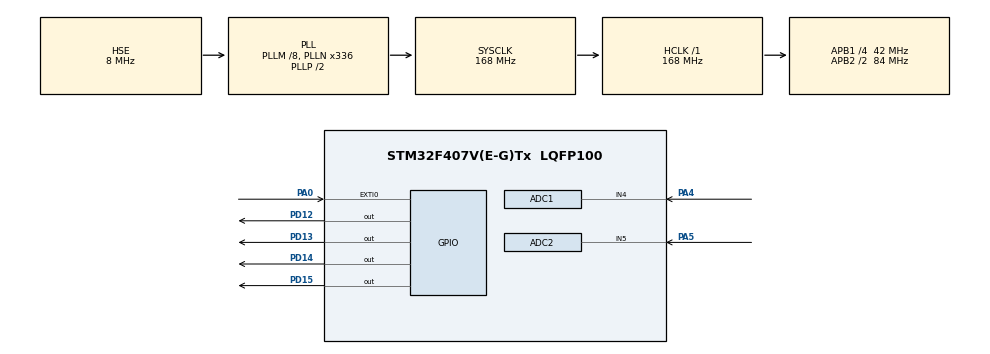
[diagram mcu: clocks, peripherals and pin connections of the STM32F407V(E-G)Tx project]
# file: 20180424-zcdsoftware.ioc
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ADC1.Channel-4\#ChannelRegularConversion=ADC_CHANNEL_4
ADC1.ClockPrescaler=ADC_CLOCK_SYNC_PCLK_DIV4
ADC1.ContinuousConvMode=ENABLE
ADC1.DMAContinuousRequests=DISABLE
ADC1.DataAlign=ADC_DATAALIGN_RIGHT
ADC1.DiscontinuousConvMode=DISABLE
ADC1.EOCSelection=ADC_EOC_SEQ_CONV
ADC1.EnableAnalogWatchDog=false
ADC1.ExternalTrigConv=ADC_SOFTWARE_START
ADC1.ExternalTrigConvEdge=ADC_EXTERNALTRIGCONVEDGE_NONE
ADC1.InjNumberOfConversion=0
ADC1.NbrOfConversion=1
ADC1.NbrOfConversionFlag=1
ADC1.Rank-4\#ChannelRegularConversion=1
ADC1.Resolution=ADC_RESOLUTION_12B
ADC1.SamplingTime-4\#ChannelRegularConversion=ADC_SAMPLETIME_3CYCLES
ADC1.ScanConvMode=DISABLE
ADC1.master=1
ADC2.Channel-0\#ChannelRegularConversion=ADC_CHANNEL_5
ADC2.ClockPrescaler=ADC_CLOCK_SYNC_PCLK_DIV4
ADC2.ContinuousConvMode=ENABLE
ADC2.DMAContinuousRequests=DISABLE
ADC2.DataAlign=ADC_DATAALIGN_RIGHT
ADC2.DiscontinuousConvMode=DISABLE
ADC2.EOCSelection=ADC_EOC_SEQ_CONV
ADC2.EnableAnalogWatchDog=false
ADC2.ExternalTrigConv=ADC_SOFTWARE_START
ADC2.ExternalTrigConvEdge=ADC_EXTERNALTRIGCONVEDGE_NONE
ADC2.InjNumberOfConversion=0
ADC2.NbrOfConversion=1
ADC2.NbrOfConversionFlag=1
ADC2.Rank-0\#ChannelRegularConversion=1
ADC2.Resolution=ADC_RESOLUTION_12B
ADC2.SamplingTime-0\#ChannelRegularConversion=ADC_SAMPLETIME_3CYCLES
ADC2.ScanConvMode=DISABLE
Mcu.Family=STM32F4
Mcu.Name=STM32F407V(E-G)Tx
Mcu.Package=LQFP100
NVIC.EXTI0_IRQn=true\:0\:0\:false\:false\:true\:true
NVIC.PriorityGroup=NVIC_PRIORITYGROUP_0
NVIC.TIM2_IRQn=true\:0\:0\:false\:false\:true\:true
PA0-WKUP.Signal=GPXTI0
PA13.Mode=Serial_Wire
PA13.Signal=SYS_JTMS-SWDIO
PA14.Mode=Serial_Wire
PA14.Signal=SYS_JTCK-SWCLK
PA4.Signal=ADCx_IN4
PA5.Signal=ADCx_IN5
PD12.Signal=GPIO_Output
PD13.Signal=GPIO_Output
PD14.Signal=GPIO_Output
PD15.Signal=GPIO_Output
PH0-OSC_IN.Mode=HSE-External-Oscillator
PH0-OSC_IN.Signal=RCC_OSC_IN
PH1-OSC_OUT.Mode=HSE-External-Oscillator
PH1-OSC_OUT.Signal=RCC_OSC_OUT
ProjectManager.HeapSize=0x200
ProjectManager.StackSize=0x400
ProjectManager.TargetToolchain=MDK-ARM V5
RCC.48MHZClocksFreq_Value=48000000
RCC.AHBFreq_Value=168000000
RCC.APB1CLKDivider=RCC_HCLK_DIV4
RCC.APB1Freq_Value=42000000
RCC.APB1TimFreq_Value=84000000
RCC.APB2CLKDivider=RCC_HCLK_DIV2
RCC.APB2Freq_Value=84000000
RCC.APB2TimFreq_Value=168000000
RCC.CortexFreq_Value=168000000
RCC.HCLKFreq_Value=168000000
RCC.HSE_VALUE=8000000
RCC.HSI_VALUE=16000000
RCC.PLLM=8
RCC.PLLN=336
RCC.PLLQ=7
RCC.PLLSourceVirtual=RCC_PLLSOURCE_HSE
RCC.SYSCLKFreq_VALUE=168000000
RCC.SYSCLKSource=RCC_SYSCLKSOURCE_PLLCLK
RCC.VCOOutputFreq_Value=336000000
SH.ADCx_IN4.0=ADC1_IN4,IN4
SH.ADCx_IN5.0=ADC2_IN5,IN5
TIM2.Period=16800-1
VP_TIM2_VS_ClockSourceINT.Mode=Internal
board=STM32F4DISCOVERY

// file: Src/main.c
/**
  ******************************************************************************
  * @file           : main.c
  * @brief          : Main program body
  ******************************************************************************
  ** This notice applies to any and all portions of this file
  * that are not between comment pairs USER CODE BEGIN and
  * USER CODE END. Other portions of this file, whether
  * inserted by the user or by software development tools
  * are owned by their respective copyright owners.
  *
  * COPYRIGHT(c) 2018 STMicroelectronics
  *
  * Redistribution and use in source and binary forms, with or without modification,
  * are permitted provided that the following conditions are met:
  *   1. Redistributions of source code must retain the above copyright notice,
  *      this list of conditions and the following disclaimer.
  *   2. Redistributions in binary form must reproduce the above copyright notice,
  *      this list of conditions and the following disclaimer in the documentation
  *      and/or other materials provided with the distribution.
  *   3. Neither the name of STMicroelectronics nor the names of its contributors
  *      may be used to endorse or promote products derived from this software
  *      without specific prior written permission.
  *
  * THIS SOFTWARE IS PROVIDED BY THE COPYRIGHT HOLDERS AND CONTRIBUTORS "AS IS"
  * AND ANY EXPRESS OR IMPLIED WARRANTIES, INCLUDING, BUT NOT LIMITED TO, THE
  * IMPLIED WARRANTIES OF MERCHANTABILITY AND FITNESS FOR A PARTICULAR PURPOSE ARE
  * DISCLAIMED. IN NO EVENT SHALL THE COPYRIGHT HOLDER OR CONTRIBUTORS BE LIABLE
  * FOR ANY DIRECT, INDIRECT, INCIDENTAL, SPECIAL, EXEMPLARY, OR CONSEQUENTIAL
  * DAMAGES (INCLUDING, BUT NOT LIMITED TO, PROCUREMENT OF SUBSTITUTE GOODS OR
  * SERVICES; LOSS OF USE, DATA, OR PROFITS; OR BUSINESS INTERRUPTION) HOWEVER
  * CAUSED AND ON ANY THEORY OF LIABILITY, WHETHER IN CONTRACT, STRICT LIABILITY,
  * OR TORT (INCLUDING NEGLIGENCE OR OTHERWISE) ARISING IN ANY WAY OUT OF THE USE
  * OF THIS SOFTWARE, EVEN IF ADVISED OF THE POSSIBILITY OF SUCH DAMAGE.
  *
  ******************************************************************************
  */
#include "main.h"
#include "stm32f4xx_hal.h"

/* USER CODE BEGIN Includes */
#define ZCD		2048
/* USER CODE END Includes */

ADC_HandleTypeDef hadc1;
ADC_HandleTypeDef hadc2;

TIM_HandleTypeDef htim2;

/* USER CODE BEGIN PV */
/* Private variables ---------------------------------------------------------*/
uint8_t state_v = 0, state_i = 0;
uint16_t adc_volt, adc_amp, hitung = 0, hasil;
/* USER CODE END PV */

void SystemClock_Config(void);
static void MX_GPIO_Init(void);
static void MX_TIM2_Init(void);
static void MX_ADC1_Init(void);
static void MX_ADC2_Init(void);

/* USER CODE BEGIN PFP */
/* Private function prototypes -----------------------------------------------*/

/* USER CODE END PFP */

int main(void)
{

  /* MCU Configuration----------------------------------------------------------*/

  /* Reset of all peripherals, Initializes the Flash interface and the Systick. */
  HAL_Init();

  /* Configure the system clock */
  SystemClock_Config();

  /* Initialize all configured peripherals */
  MX_GPIO_Init();
  MX_TIM2_Init();
  MX_ADC1_Init();
  MX_ADC2_Init();
  /* USER CODE BEGIN 2 */
	HAL_ADC_Start(&hadc1);
	HAL_ADC_Start(&hadc2);

  /* USER CODE END 2 */

  /* Infinite loop */
  while (1)
  {

  /* USER CODE BEGIN 3 */
		adc_volt = HAL_ADC_GetValue(&hadc1);
		adc_amp = HAL_ADC_GetValue(&hadc2);

		if(state_v==0 && adc_volt>ZCD)
		{
			hitung=0;
			state_v=1;
		}
		if(adc_volt<ZCD)
		{state_v=0;}
		if(state_i==0 && adc_amp>ZCD)
		{
			hasil = hitung;
			state_i=1;
		}
		if(adc_amp<ZCD)
		{state_i=0;}

  }
  /* USER CODE END 3 */

}

void SystemClock_Config(void)
{

  RCC_OscInitTypeDef RCC_OscInitStruct;
  RCC_ClkInitTypeDef RCC_ClkInitStruct;

    /**Configure the main internal regulator output voltage
    */
  __HAL_RCC_PWR_CLK_ENABLE();

  __HAL_PWR_VOLTAGESCALING_CONFIG(PWR_REGULATOR_VOLTAGE_SCALE1);

    /**Initializes the CPU, AHB and APB busses clocks
    */
  RCC_OscInitStruct.OscillatorType = RCC_OSCILLATORTYPE_HSE;
  RCC_OscInitStruct.HSEState = RCC_HSE_ON;
  RCC_OscInitStruct.PLL.PLLState = RCC_PLL_ON;
  RCC_OscInitStruct.PLL.PLLSource = RCC_PLLSOURCE_HSE;
  RCC_OscInitStruct.PLL.PLLM = 8;
  RCC_OscInitStruct.PLL.PLLN = 336;
  RCC_OscInitStruct.PLL.PLLP = RCC_PLLP_DIV2;
  RCC_OscInitStruct.PLL.PLLQ = 7;
  if (HAL_RCC_OscConfig(&RCC_OscInitStruct) != HAL_OK)
  {
    _Error_Handler(__FILE__, __LINE__);
  }

    /**Initializes the CPU, AHB and APB busses clocks
    */
  RCC_ClkInitStruct.ClockType = RCC_CLOCKTYPE_HCLK|RCC_CLOCKTYPE_SYSCLK
                              |RCC_CLOCKTYPE_PCLK1|RCC_CLOCKTYPE_PCLK2;
  RCC_ClkInitStruct.SYSCLKSource = RCC_SYSCLKSOURCE_PLLCLK;
  RCC_ClkInitStruct.AHBCLKDivider = RCC_SYSCLK_DIV1;
  RCC_ClkInitStruct.APB1CLKDivider = RCC_HCLK_DIV4;
  RCC_ClkInitStruct.APB2CLKDivider = RCC_HCLK_DIV2;

  if (HAL_RCC_ClockConfig(&RCC_ClkInitStruct, FLASH_LATENCY_5) != HAL_OK)
  {
    _Error_Handler(__FILE__, __LINE__);
  }

    /**Configure the Systick interrupt time
    */
  HAL_SYSTICK_Config(HAL_RCC_GetHCLKFreq()/10000);

    /**Configure the Systick
    */
  HAL_SYSTICK_CLKSourceConfig(SYSTICK_CLKSOURCE_HCLK);

  /* SysTick_IRQn interrupt configuration */
  HAL_NVIC_SetPriority(SysTick_IRQn, 0, 0);
}

/* ADC1 init function */
static void MX_ADC1_Init(void)
{

  ADC_ChannelConfTypeDef sConfig;

    /**Configure the global features of the ADC (Clock, Resolution, Data Alignment and number of conversion)
    */
  hadc1.Instance = ADC1;
  hadc1.Init.ClockPrescaler = ADC_CLOCK_SYNC_PCLK_DIV4;
  hadc1.Init.Resolution = ADC_RESOLUTION_12B;
  hadc1.Init.ScanConvMode = DISABLE;
  hadc1.Init.ContinuousConvMode = ENABLE;
  hadc1.Init.DiscontinuousConvMode = DISABLE;
  hadc1.Init.ExternalTrigConvEdge = ADC_EXTERNALTRIGCONVEDGE_NONE;
  hadc1.Init.ExternalTrigConv = ADC_SOFTWARE_START;
  hadc1.Init.DataAlign = ADC_DATAALIGN_RIGHT;
  hadc1.Init.NbrOfConversion = 1;
  hadc1.Init.DMAContinuousRequests = DISABLE;
  hadc1.Init.EOCSelection = ADC_EOC_SEQ_CONV;
  if (HAL_ADC_Init(&hadc1) != HAL_OK)
  {
    _Error_Handler(__FILE__, __LINE__);
  }

    /**Configure for the selected ADC regular channel its corresponding rank in the sequencer and its sample time.
    */
  sConfig.Channel = ADC_CHANNEL_4;
  sConfig.Rank = 1;
  sConfig.SamplingTime = ADC_SAMPLETIME_3CYCLES;
  if (HAL_ADC_ConfigChannel(&hadc1, &sConfig) != HAL_OK)
  {
    _Error_Handler(__FILE__, __LINE__);
  }

}

/* ADC2 init function */
static void MX_ADC2_Init(void)
{

  ADC_ChannelConfTypeDef sConfig;

    /**Configure the global features of the ADC (Clock, Resolution, Data Alignment and number of conversion)
    */
  hadc2.Instance = ADC2;
  hadc2.Init.ClockPrescaler = ADC_CLOCK_SYNC_PCLK_DIV4;
  hadc2.Init.Resolution = ADC_RESOLUTION_12B;
  hadc2.Init.ScanConvMode = DISABLE;
  hadc2.Init.ContinuousConvMode = ENABLE;
  hadc2.Init.DiscontinuousConvMode = DISABLE;
  hadc2.Init.ExternalTrigConvEdge = ADC_EXTERNALTRIGCONVEDGE_NONE;
  hadc2.Init.ExternalTrigConv = ADC_SOFTWARE_START;
  hadc2.Init.DataAlign = ADC_DATAALIGN_RIGHT;
  hadc2.Init.NbrOfConversion = 1;
  hadc2.Init.DMAContinuousRequests = DISABLE;
  hadc2.Init.EOCSelection = ADC_EOC_SEQ_CONV;
  if (HAL_ADC_Init(&hadc2) != HAL_OK)
  {
    _Error_Handler(__FILE__, __LINE__);
  }

    /**Configure for the selected ADC regular channel its corresponding rank in the sequencer and its sample time.
    */
  sConfig.Channel = ADC_CHANNEL_5;
  sConfig.Rank = 1;
  sConfig.SamplingTime = ADC_SAMPLETIME_3CYCLES;
  if (HAL_ADC_ConfigChannel(&hadc2, &sConfig) != HAL_OK)
  {
    _Error_Handler(__FILE__, __LINE__);
  }

}

/* TIM2 init function */
static void MX_TIM2_Init(void)
{

  TIM_ClockConfigTypeDef sClockSourceConfig;
  TIM_MasterConfigTypeDef sMasterConfig;

  htim2.Instance = TIM2;
  htim2.Init.Prescaler = 0;
  htim2.Init.CounterMode = TIM_COUNTERMODE_UP;
  htim2.Init.Period = 16800-1;
  htim2.Init.ClockDivision = TIM_CLOCKDIVISION_DIV1;
  if (HAL_TIM_Base_Init(&htim2) != HAL_OK)
  {
    _Error_Handler(__FILE__, __LINE__);
  }

  sClockSourceConfig.ClockSource = TIM_CLOCKSOURCE_INTERNAL;
  if (HAL_TIM_ConfigClockSource(&htim2, &sClockSourceConfig) != HAL_OK)
  {
    _Error_Handler(__FILE__, __LINE__);
  }

  sMasterConfig.MasterOutputTrigger = TIM_TRGO_RESET;
  sMasterConfig.MasterSlaveMode = TIM_MASTERSLAVEMODE_DISABLE;
  if (HAL_TIMEx_MasterConfigSynchronization(&htim2, &sMasterConfig) != HAL_OK)
  {
    _Error_Handler(__FILE__, __LINE__);
  }

}

/** Configure pins as
        * Analog
        * Input
        * Output
        * EVENT_OUT
        * EXTI
*/
static void MX_GPIO_Init(void)
{

  GPIO_InitTypeDef GPIO_InitStruct;

  /* GPIO Ports Clock Enable */
  __HAL_RCC_GPIOH_CLK_ENABLE();
  __HAL_RCC_GPIOA_CLK_ENABLE();
  __HAL_RCC_GPIOD_CLK_ENABLE();

  /*Configure GPIO pin Output Level */
  HAL_GPIO_WritePin(GPIOD, GPIO_PIN_12|GPIO_PIN_13|GPIO_PIN_14|GPIO_PIN_15, GPIO_PIN_RESET);

  /*Configure GPIO pin : PA0 */
  GPIO_InitStruct.Pin = GPIO_PIN_0;
  GPIO_InitStruct.Mode = GPIO_MODE_IT_RISING;
  GPIO_InitStruct.Pull = GPIO_NOPULL;
  HAL_GPIO_Init(GPIOA, &GPIO_InitStruct);

  /*Configure GPIO pins : PD12 PD13 PD14 PD15 */
  GPIO_InitStruct.Pin = GPIO_PIN_12|GPIO_PIN_13|GPIO_PIN_14|GPIO_PIN_15;
  GPIO_InitStruct.Mode = GPIO_MODE_OUTPUT_PP;
  GPIO_InitStruct.Pull = GPIO_NOPULL;
  GPIO_InitStruct.Speed = GPIO_SPEED_FREQ_LOW;
  HAL_GPIO_Init(GPIOD, &GPIO_InitStruct);

  /* EXTI interrupt init*/
  HAL_NVIC_SetPriority(EXTI0_IRQn, 0, 0);
  HAL_NVIC_EnableIRQ(EXTI0_IRQn);

}

void _Error_Handler(char *file, int line)
{
  while(1)
  {
  }
}

/************************ (C) COPYRIGHT STMicroelectronics *****END OF FILE****/
